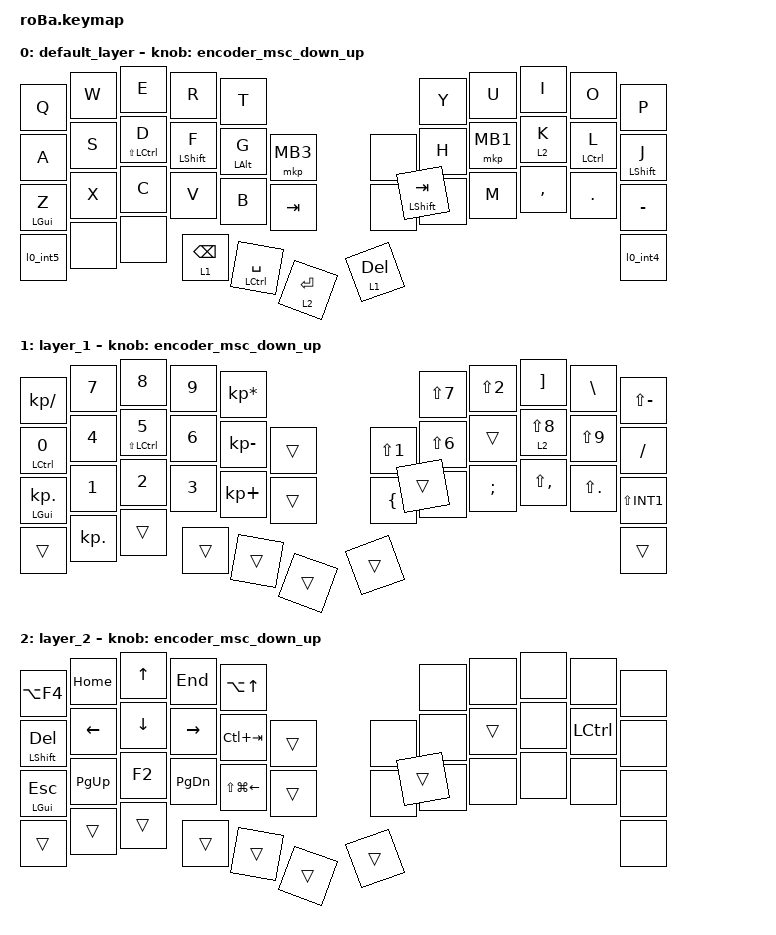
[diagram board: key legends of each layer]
#include <behaviors.dtsi>
#include <dt-bindings/zmk/bt.h>
#include <dt-bindings/zmk/keys.h>
#include <dt-bindings/zmk/pointing.h>

#define ZMK_POINTING_DEFAULT_SCRL_VAL 110

&mt {
    flavor = "balanced";
    tapping-term-ms = <180>;
    quick-tap-ms = <200>;
};

&lt {
    flavor = "balanced";
    tapping-term-ms = <180>;
    quick-tap-ms = <200>;
};

&trackball {
//    automouse-layer = <>;
    scroll-layers = <2>;
};

/ {
    combos {

//    ０ １ ２ ３ ４ 　　  　 ５ ６ ７ ８ ９
//    10 11 12 13 14 15　16 17 18 19 20 21
//    22 23 24 25 26 27　28 29 30 31 32 33
//    34 35 36 37 38 39　40 41	        42

        compatible = "zmk,combos";

        alttab {
            timeout-ms = <50>;
            bindings = <&alt_tab>;
            key-positions = <12 13>;
            slow-release;
            layers = <0 1>;
        };

        mb2 {
            timeout-ms = <50>;
            bindings = <&mkp MB2>;
            key-positions = <18 19>;
        };

    };

    macros {

        alt_tab: alt_tab {
            compatible = "zmk,behavior-macro";
            #binding-cells = <0>;
            bindings =
                <&macro_press>,
                <&mo 2 &kp LALT>,
                <&macro_tap>,
                <&kp TAB>,
                <&macro_pause_for_release>,
                <&macro_release>,
                <&kp LALT &mo 2>;
            label = "ALT_TAB";
        };

        l0_int4: l0_int4 {
            compatible = "zmk,behavior-macro";
            #binding-cells = <0>;
            bindings =
                <&to 0 &kp INT4>;
            label = "l0_int4";
        };

        l0_int5: l0_int5 {
            compatible = "zmk,behavior-macro";
            #binding-cells = <0>;
            bindings =
                <&to 0 &kp INT5>;
            label = "l0_int5";
        };

    };

    behaviors {

        encoder_msc_down_up: encoder_msc_down_up {
            compatible = "zmk,behavior-sensor-rotate";
            label = "ENCODER_MSC_DOWN_UP";
            #sensor-binding-cells = <0>;
            bindings = <&msc SCRL_DOWN>, <&msc SCRL_UP>;
            tap-ms = <20>;
        };

        mmt: mouse_mt {
            compatible = "zmk,behavior-hold-tap";
            #binding-cells = <2>;
            flavor = "balanced";
            tapping-term-ms = <180>;
            quick-tap-ms = <200>;
            bindings = <&kp>, <&kp>;
            hold-while-undecided;
            display-name = "Mouse_mt";
        };

    };

    keymap {
        compatible = "zmk,keymap";

        default_layer {
            bindings = <
&kp Q       &kp W  &kp E             &kp R         &kp T                                      &kp Y           &kp U     &kp I      &kp  O        &kp P
&kp A       &kp S  &mmt LS(LCTRL) D  &mmt LSHFT F  &mt LALT G        &mkp MB3     &none       &kp H           &mkp MB1  &lt 2 K    &mmt LCTRL L  &mmt LSHFT J
&mt LGUI Z  &kp X  &kp C             &kp V         &kp B             &kp TAB      &none       &kp N           &kp M     &kp COMMA  &kp  DOT      &kp MINUS
&l0_int5    &none  &none             &lt 1 BSPC    &mmt LCTRL SPACE  &lt 2 ENTER  &lt 1 DEL   &mmt LSHFT TAB                                     &l0_int4
            >;
            sensor-bindings = <&encoder_msc_down_up>;
        };

        layer_1 {
            bindings = <
&kp KP_SLASH      &kp N7      &kp N8             &kp N9  &kp KP_ASTERISK                      &kp LS(N7)  &kp LS(N2)  &kp RBKT       &kp BSLH     &kp LS(MINUS)
&mmt LCTRL N0     &kp N4      &mmt LS(LCTRL) N5  &kp N6  &kp KP_MINUS     &trans  &kp LS(N1)  &kp LS(N6)  &trans      &lt 2 LS(N8)   &kp LS(N9)   &kp SLASH
&mt LGUI KP_DOT   &kp N1      &kp N2             &kp N3  &kp KP_PLUS      &trans  &kp LBRC    &kp SQT     &kp SEMI    &kp LS(COMMA)  &kp LS(DOT)  &kp LS(INT1)
&trans            &kp KP_DOT  &trans             &trans  &trans           &trans  &trans      &trans                                              &trans
            >;
            sensor-bindings = <&encoder_msc_down_up>;
        };

        layer_2 {
            bindings = <
&kp LA(F4)      &kp HOME   &kp UP    &kp END    &kp LA(UP)                        &none   &none   &none  &none      &none
&mmt LSHFT DEL  &kp LEFT   &kp DOWN  &kp RIGHT  &kp LC(TAB)       &trans  &none   &none   &trans  &none  &kp LCTRL  &none
&mt LGUI ESC    &kp PG_UP  &kp F2    &kp PG_DN  &kp LS(LG(LEFT))  &trans  &none   &none   &none   &none  &none      &none
&trans          &trans     &trans    &trans     &trans            &trans  &trans  &trans                            &none
            >;
            sensor-bindings = <&encoder_msc_down_up>;
        };
    };
};
